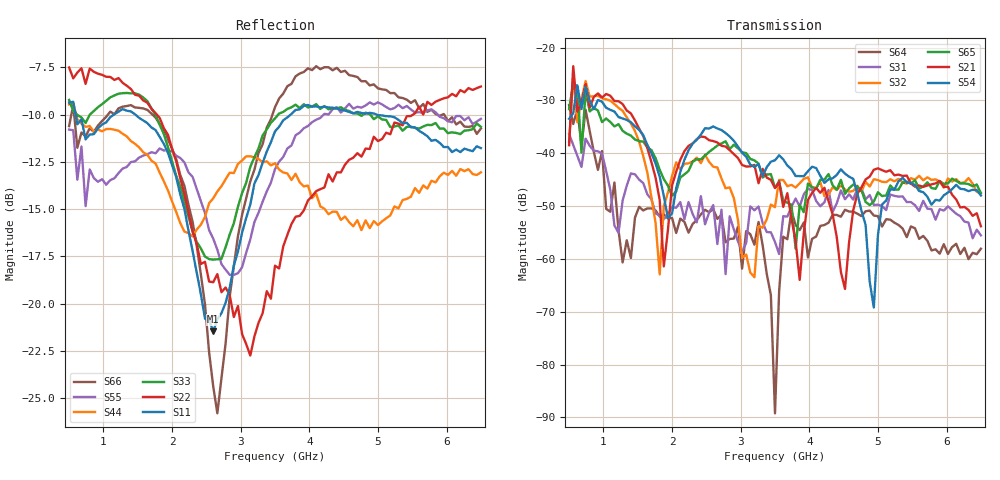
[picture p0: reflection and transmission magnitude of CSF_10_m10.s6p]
!Keysight Technologies,M9804A,MY58100912,A.14.10.03
!Date: Thursday, April 27, 2023 10:28:33
!Correction: S11(C  6-Port  )
!S12(C  6-Port  )
!S13(C  6-Port  )
!S14(C  6-Port  )
!S15(C  6-Port  )
!S16(C  6-Port  )
!S21(C  6-Port  )
!S22(C  6-Port  )
!S23(C  6-Port  )
!S24(C  6-Port  )
!S25(C  6-Port  )
!S26(C  6-Port  )
!S31(C  6-Port  )
!S32(C  6-Port  )
!S33(C  6-Port  )
!S34(C  6-Port  )
!S35(C  6-Port  )
!S36(C  6-Port  )
!S41(C  6-Port  )
!S42(C  6-Port  )
!S43(C  6-Port  )
!S44(C  6-Port  )
!S45(C  6-Port  )
!S46(C  6-Port  )
!S51(C  6-Port  )
!S52(C  6-Port  )
!S53(C  6-Port  )
!S54(C  6-Port  )
!S55(C  6-Port  )
!S56(C  6-Port  )
!S61(C  6-Port  )
!S62(C  6-Port  )
!S63(C  6-Port  )
!S64(C  6-Port  )
!S65(C  6-Port  )
!S66(C  6-Port  )
!S6P File: Measurement: :
# Hz S  RI  R 50
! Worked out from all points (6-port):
!   101 points, 500 MHz to 6.5 GHz, reference 50 ohm
!   strongest paths, dB at 500 MHz, 2 GHz, 3.5 GHz, 5 GHz, 6.5 GHz:
!     S54: -33.5, -51.4, -41.3, -55.5, -48.0
!     S21: -38.5, -46.1, -46.6, -42.8, -53.8
!     S65: -31.6, -48.0, -46.5, -47.4, -47.5
!     S32: -37.8, -44.3, -50.2, -45.1, -47.5
!     S31: -36.4, -50.2, -56.8, -49.7, -55.5
!     S64: -30.9, -52.2, -89.2, -51.9, -58.1
!   lowest |S11| = -21.5 dB at 2.6 GHz (marker M1), VSWR 1.18, Z = 42.5 + j2.35 ohm
!   |S11| at or under -10 dB: 594.4 MHz to 1.15 GHz (555.3 MHz wide, 63.7 % of centre); 1.467 GHz to 3.727 GHz (2.259 GHz wide, 87 % of centre); 4.985 GHz to end of sweep
